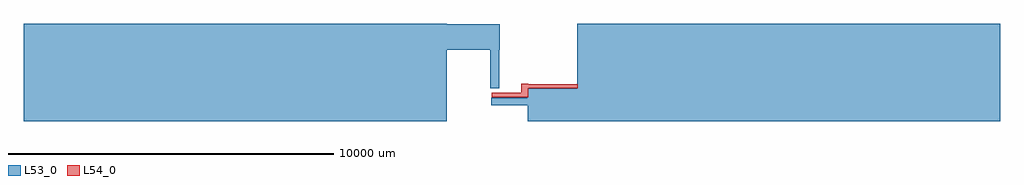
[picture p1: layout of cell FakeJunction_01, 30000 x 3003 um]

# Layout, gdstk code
import gdstk
lib = gdstk.Library(unit=1e-6, precision=1e-09)
def R(c, l, rs):  # rectangles x0, y0, x1, y1
    for r in rs: c.add(gdstk.rectangle(r[:2], r[2:], *l))
L53_0 = (53, 0)
L54_0 = (54, 0)

fakejunction_01 = lib.new_cell('FakeJunction_01')
R(fakejunction_01, L53_0, [(489,-1503,2001,-489), (-15000,-1500,-2000,1500), (2000,-1500,15000,1500), (-636,-1005,507,-774), (-673,-489,-396,701), (-1999,702,-378,1477)])
R(fakejunction_01, L54_0, [(-627,-765,507,-618), (286,-618,498,-341), (498,-489,2019,-360)])

lib.write_gds('FakeJunction_01.gds')
